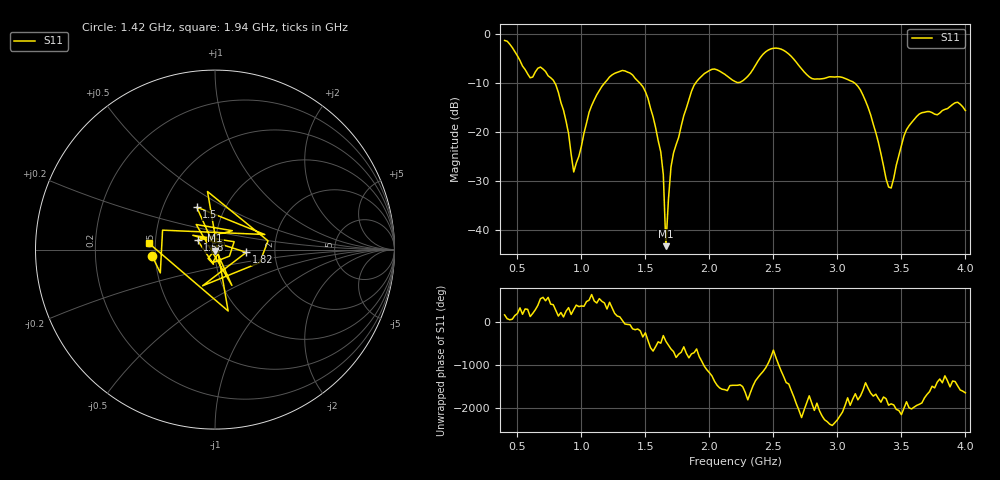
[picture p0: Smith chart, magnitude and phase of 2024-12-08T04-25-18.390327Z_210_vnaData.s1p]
!Created with skrf (http://scikit-rf.org).
# Hz S RI R 50.0
!freq ReS11 ImS11
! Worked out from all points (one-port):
!   181 points, 400 MHz to 4 GHz, reference 50 ohm
!   lowest |S11| = -43.2 dB at 1.66 GHz (marker M1), VSWR 1.01, Z = 50.1 - j0.687 ohm
!   |S11| at or under -10 dB: 792.1 MHz to 1.182 GHz (389.5 MHz wide, 39.5 % of centre); 1.455 GHz to 1.893 GHz (437.6 MHz wide, 26.1 % of centre); 3.134 GHz to end of sweep
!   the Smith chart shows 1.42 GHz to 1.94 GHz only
!   S11 on the Smith chart (normalised r, x): 1.42 GHz: 0.48, -0.04; 1.5 GHz: 0.73, +0.37; 1.58 GHz: 0.82, +0.09; 1.82 GHz: 1.42, -0.05; 1.94 GHz: 0.46, +0.04
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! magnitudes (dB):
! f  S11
! 400 MHz  -1.4
! 600 MHz  -9.0
! 680 MHz  -6.8
! 780 MHz  -9.4
! 860 MHz  -15.5
! 940 MHz  -28.1
! 1.08 GHz  -14.6
! 1.3 GHz  -7.6
! 1.42 GHz  -9.1
! 1.5 GHz  -11.8
! 1.58 GHz  -19.1
! 1.64 GHz  -28.7
! 1.66 GHz  -43.2
! 1.7 GHz  -27.1
! 1.76 GHz  -21.1
! 1.82 GHz  -15.1
! 1.94 GHz  -8.6
! 2.04 GHz  -7.2
! 2.2 GHz  -9.7
! 2.48 GHz  -3.1
! 2.66 GHz  -5.2
! 2.8 GHz  -9.1
! 3.1 GHz  -9.6
! 3.24 GHz  -15.0
! 3.4 GHz  -31.2
! 3.56 GHz  -18.7
! 3.92 GHz  -14.0
! 4 GHz  -15.6
